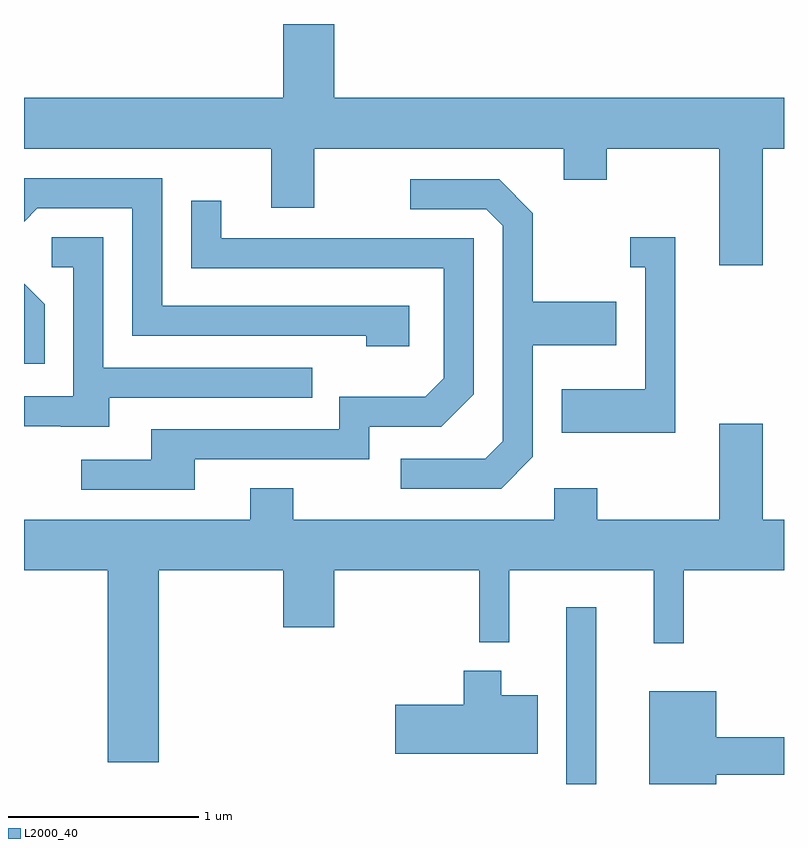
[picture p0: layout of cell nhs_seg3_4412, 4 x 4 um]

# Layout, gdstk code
import gdstk
lib = gdstk.Library(unit=1e-6, precision=1e-09)
def R(c, l, rs):  # rectangles x0, y0, x1, y1
    for r in rs: c.add(gdstk.rectangle(r[:2], r[2:], *l))
def P(c, l, *ps):  # polygons
    for p in ps: c.add(gdstk.Polygon(p, *l))
L2000_40 = (2000, 40)

nhs_seg3_4412 = lib.new_cell('nhs_seg3_4412')
R(nhs_seg3_4412, L2000_40, [(316.466,1235.892,316.624,1236.823)])
P(nhs_seg3_4412, L2000_40, [(317.499,1239.236),(317.611,1239.236),(317.611,1239.504),(315.244,1239.504),(315.244,1239.892),(314.976,1239.892),(314.976,1239.504),(313.611,1239.504),(313.611,1239.236),(314.911,1239.236),(314.911,1238.926),(315.139,1238.926),(315.139,1239.236),(316.451,1239.236),(316.451,1239.071),(316.679,1239.071),(316.679,1239.236),(317.271,1239.236),(317.271,1238.621),(317.499,1238.621)],
  [(315.639,1238.409),(314.339,1238.409),(314.339,1239.079),(313.611,1239.079),(313.611,1238.85),(313.682,1238.921),(314.181,1238.921),(314.181,1238.251),(315.411,1238.251),(315.411,1238.196),(315.639,1238.196)],
  [(316.289,1237.614),(316.289,1238.201),(316.729,1238.201),(316.729,1238.429),(316.289,1238.429),(316.289,1238.897),(316.112,1239.074),(315.643,1239.074),(315.643,1238.916),(316.044,1238.916),(316.131,1238.829),(316.131,1237.697),(316.039,1237.604),(315.593,1237.604),(315.593,1237.446),(316.122,1237.446)],
  [(314.509,1237.601),(315.429,1237.601),(315.429,1237.771),(315.807,1237.771),(315.979,1237.944),(315.979,1238.764),(314.649,1238.764),(314.649,1238.963),(314.491,1238.963),(314.491,1238.606),(315.821,1238.606),(315.821,1238.027),(315.724,1237.929),(315.271,1237.929),(315.271,1237.759),(314.281,1237.759),(314.281,1237.599),(313.913,1237.599),(313.913,1237.441),(314.509,1237.441)],
  [(314.059,1237.926),(315.128,1237.926),(315.128,1238.084),(314.029,1238.084),(314.029,1238.769),(313.758,1238.769),(313.758,1238.611),(313.871,1238.611),(313.871,1237.934),(313.611,1237.934),(313.611,1237.776),(313.805,1237.776),(313.805,1237.771),(314.059,1237.771)],
  [(317.039,1238.769),(316.803,1238.769),(316.803,1238.611),(316.881,1238.611),(316.881,1237.969),(316.441,1237.969),(316.441,1237.741),(317.039,1237.741)],
  [(313.719,1238.417),(313.611,1238.525),(313.611,1238.103),(313.719,1238.103)],
  [(314.319,1237.016),(314.976,1237.016),(314.976,1236.716),(315.244,1236.716),(315.244,1237.016),(316.006,1237.016),(316.006,1236.638),(316.164,1236.638),(316.164,1237.016),(316.926,1237.016),(316.926,1236.633),(317.084,1236.633),(317.084,1237.016),(317.611,1237.016),(317.611,1237.284),(317.499,1237.284),(317.499,1237.789),(317.271,1237.789),(317.271,1237.284),(316.629,1237.284),(316.629,1237.449),(316.401,1237.449),(316.401,1237.284),(315.029,1237.284),(315.029,1237.449),(314.801,1237.449),(314.801,1237.284),(313.611,1237.284),(313.611,1237.016),(314.051,1237.016),(314.051,1236.006),(314.319,1236.006)],
  [(316.314,1236.359),(316.124,1236.359),(316.124,1236.489),(315.926,1236.489),(315.926,1236.309),(315.566,1236.309),(315.566,1236.051),(316.314,1236.051)],
  [(317.254,1235.941),(317.611,1235.941),(317.611,1236.139),(317.254,1236.139),(317.254,1236.379),(316.901,1236.379),(316.901,1235.892),(317.254,1235.892)])

lib.write_gds('nhs_seg3_4412.gds')
